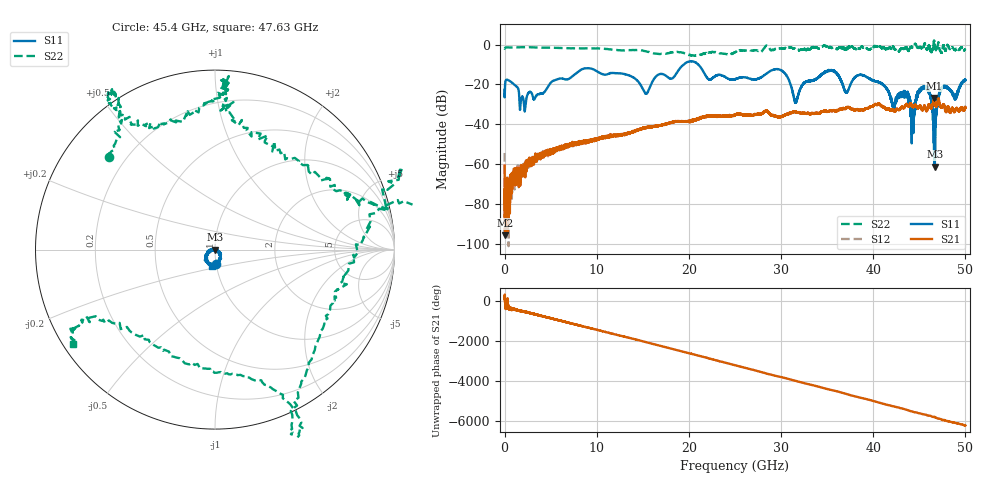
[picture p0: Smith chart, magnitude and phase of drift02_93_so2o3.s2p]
!Created with skrf (http://scikit-rf.org).
# Hz S RI R 50.0
!freq ReS11 ImS11 ReS21 ImS21 ReS12 ImS12 ReS22 ImS22
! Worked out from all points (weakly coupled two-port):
!   10001 points, 300 kHz to 50 GHz, reference 50 ohm
!   highest |S21| = -26.82 dB at 46.58 GHz (marker M1); lowest = -95.6 dB at 75.3 MHz (marker M2)
!   lowest |S11| = -61.3 dB at 46.69 GHz (marker M3), VSWR 1.00, Z = 50 - j0.0831 ohm
!   |S11| at or under -10 dB: start of sweep to 19.43 GHz; 21.01 GHz to end of sweep
!   |S22| runs from -5.7 to 2.1 dB; largest |S21 - S12| = 0.0043
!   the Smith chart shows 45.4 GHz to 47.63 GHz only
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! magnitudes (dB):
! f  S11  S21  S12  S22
! 300 kHz  -22.7  -60.7  -54.3  -2.1
! 75.3 MHz  -18.9  -95.6  -80.3  -1.5
! 295.3 MHz  -17.6  -71.7  -73.3  -1.4
! 2.185 GHz  -33.6  -61.8  -62.5  -1.3
! 8.335 GHz  -12.5  -49.3  -49.5  -1.9
! 15.34 GHz  -24.6  -41.6  -41.6  -3.3
! 16.67 GHz  -15.1  -40.8  -40.9  -4.7
! 20.31 GHz  -8.4  -38.5  -38.3  -5.5
! 25 GHz  -17.4  -35.3  -35.3  -3.9
! 29.83 GHz  -12.5  -36.5  -36.6  -1.9
! 31.6 GHz  -29.1  -33.6  -34.1  -2.5
! 33.34 GHz  -18.0  -34.5  -34.4  -1.6
! 37.1 GHz  -24.1  -31.8  -31.5  -2.2
! 38.76 GHz  -15.3  -32.5  -32.6  -0.9
! 41.67 GHz  -23.8  -32.1  -32.2  -2.0
! 43.56 GHz  -25.9  -30.1  -30.1  -1.1
! 44.27 GHz  -37.8  -31.0  -31.2  -1.4
! 45.74 GHz  -20.9  -32.7  -32.9  -1.5
! 46.58 GHz  -49.4  -26.8  -27.4  1.8
! 46.69 GHz  -61.3  -29.5  -29.0  -0.1
! 47.48 GHz  -21.9  -31.3  -31.4  -3.2
! 50 GHz  -17.9  -31.8  -31.2  -2.6
